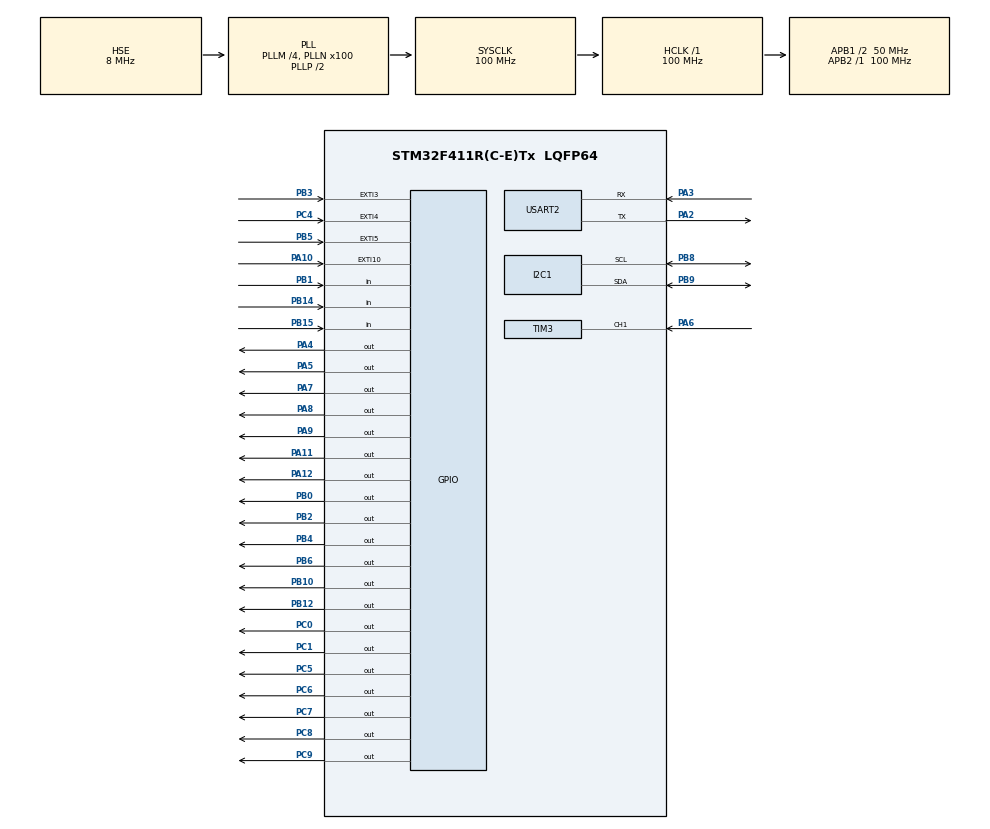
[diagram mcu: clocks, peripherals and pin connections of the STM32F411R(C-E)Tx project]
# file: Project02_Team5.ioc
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Mcu.Family=STM32F4
Mcu.Name=STM32F411R(C-E)Tx
Mcu.Package=LQFP64
NVIC.EXTI15_10_IRQn=true\:0\:0\:false\:false\:true\:true\:true\:true
NVIC.EXTI3_IRQn=true\:0\:0\:false\:false\:true\:true\:true\:true
NVIC.EXTI4_IRQn=true\:0\:0\:false\:false\:true\:true\:true\:true
NVIC.EXTI9_5_IRQn=true\:0\:0\:false\:false\:true\:true\:true\:true
NVIC.PriorityGroup=NVIC_PRIORITYGROUP_4
PA10.GPIO_ModeDefaultEXTI=GPIO_MODE_IT_FALLING
PA10.Signal=GPXTI10
PA11.Signal=GPIO_Output
PA12.Signal=GPIO_Output
PA13.Mode=Serial_Wire
PA13.Signal=SYS_JTMS-SWDIO
PA14.Mode=Serial_Wire
PA14.Signal=SYS_JTCK-SWCLK
PA2.Mode=Asynchronous
PA2.Signal=USART2_TX
PA3.Mode=Asynchronous
PA3.Signal=USART2_RX
PA4.Signal=GPIO_Output
PA5.Signal=GPIO_Output
PA6.Signal=S_TIM3_CH1
PA7.Signal=GPIO_Output
PA8.Signal=GPIO_Output
PA9.Signal=GPIO_Output
PB0.Signal=GPIO_Output
PB1.Signal=GPIO_Input
PB10.Signal=GPIO_Output
PB12.Signal=GPIO_Output
PB14.Signal=GPIO_Input
PB15.Signal=GPIO_Input
PB2.Signal=GPIO_Output
PB3.GPIO_ModeDefaultEXTI=GPIO_MODE_IT_FALLING
PB3.Signal=GPXTI3
PB4.Signal=GPIO_Output
PB5.GPIO_ModeDefaultEXTI=GPIO_MODE_IT_FALLING
PB5.Signal=GPXTI5
PB6.Signal=GPIO_Output
PB8.Mode=I2C
PB8.Signal=I2C1_SCL
PB9.Mode=I2C
PB9.Signal=I2C1_SDA
PC0.Signal=GPIO_Output
PC1.Signal=GPIO_Output
PC4.GPIO_ModeDefaultEXTI=GPIO_MODE_IT_FALLING
PC4.GPIO_PuPd=GPIO_PULLUP
PC4.Signal=GPXTI4
PC5.Signal=GPIO_Output
PC6.Signal=GPIO_Output
PC7.Signal=GPIO_Output
PC8.Signal=GPIO_Output
PC9.Signal=GPIO_Output
PH0\ -\ OSC_IN.Mode=HSE-External-Clock-Source
PH0\ -\ OSC_IN.Signal=RCC_OSC_IN
PH1\ -\ OSC_OUT.Mode=HSE-External-Clock-Source
PH1\ -\ OSC_OUT.Signal=RCC_OSC_OUT
ProjectManager.HeapSize=0x200
ProjectManager.StackSize=0x400
ProjectManager.TargetToolchain=STM32CubeIDE
RCC.48MHZClocksFreq_Value=50000000
RCC.AHBFreq_Value=100000000
RCC.APB1CLKDivider=RCC_HCLK_DIV2
RCC.APB1Freq_Value=50000000
RCC.APB1TimFreq_Value=100000000
RCC.APB2Freq_Value=100000000
RCC.APB2TimFreq_Value=100000000
RCC.CortexFreq_Value=100000000
RCC.HCLKFreq_Value=100000000
RCC.HSE_VALUE=8000000
RCC.HSI_VALUE=16000000
RCC.LSE_VALUE=32768
RCC.PLLM=4
RCC.PLLN=100
RCC.PLLSourceVirtual=RCC_PLLSOURCE_HSE
RCC.SYSCLKFreq_VALUE=100000000
RCC.SYSCLKSource=RCC_SYSCLKSOURCE_PLLCLK
RCC.VCOOutputFreq_Value=200000000
SH.S_TIM3_CH1.0=TIM3_CH1,Input_Capture1_from_TI1
TIM11.Prescaler=100-1
TIM3.Channel-Input_Capture1_from_TI1=TIM_CHANNEL_1
USART2.VirtualMode=VM_ASYNC
VP_TIM10_VS_ClockSourceINT.Mode=Enable_Timer
VP_TIM11_VS_ClockSourceINT.Mode=Enable_Timer
VP_TIM3_VS_ClockSourceINT.Mode=Internal
board=custom

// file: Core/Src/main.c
/* USER CODE BEGIN Header */
/**
  ******************************************************************************
  * @file           : main.c
  * @brief          : Main program body
  ******************************************************************************
  * @attention
  *
  * Copyright (c) 2026 STMicroelectronics.
  * All rights reserved.
  *
  * This software is licensed under terms that can be found in the LICENSE file
  * in the root directory of this software component.
  * If no LICENSE file comes with this software, it is provided AS-IS.
  *
  ******************************************************************************
  */
/* USER CODE END Header */
#include "main.h"
#include "i2c.h"
#include "tim.h"
#include "usart.h"
#include "gpio.h"

/* USER CODE BEGIN Includes */
#include "elevator.h"

#include <stdio.h>
#include <string.h>

#include "photo.h"
#include "I2C_LCD.h"
#include "dht11.h"

/* USER CODE END Includes */

/* USER CODE BEGIN PD */

#define PHOTO_PIN   GPIO_PIN_4   // PC4 : EXTI
#define PHOTO_PORT  GPIOC

/* DHT11 핀 */
#define DHT11_PIN   GPIO_PIN_4
#define DHT11_PORT  GPIOB

/* USER CODE END PD */

/* USER CODE BEGIN PV */

Photo photo;

const PhotoConfig photoCfg =
{
    .photoPort = PHOTO_PORT,
    .photoPin  = PHOTO_PIN,

    .dhtPort   = DHT11_PORT,
    .dhtPin    = DHT11_PIN,

    .activeLevel       = PHOTO_ACTIVE_LOW,
    .pollPeriodMs      = 2,
    .lcdUpdatePeriodMs = 2000
};

/* USER CODE END PV */

void SystemClock_Config(void);

int main(void)
{

  /* MCU Configuration--------------------------------------------------------*/

  /* Reset of all peripherals, Initializes the Flash interface and the Systick. */
  HAL_Init();

  /* Configure the system clock */
  SystemClock_Config();

  /* Initialize all configured peripherals */
  MX_GPIO_Init();
  MX_USART2_UART_Init();
  MX_I2C1_Init();
  MX_TIM3_Init();
  MX_TIM11_Init();
  MX_TIM10_Init();

  /* USER CODE BEGIN 2 */
  // 엘리베이터 및 주변장치 초기화
  Elevator_Init();

  photoInit(&photo, &photoCfg);

  /* USER CODE END 2 */

  /* Infinite loop */
  /* USER CODE BEGIN WHILE */
  while (1)
  {
    // 논블로킹 방식으로 엘리베이터 로직과 센서 로직을 계속 교차 실행
    Elevator_Loop();
		photoLoop(&photo);
    /* USER CODE END WHILE */

  }
}

void SystemClock_Config(void)
{
  RCC_OscInitTypeDef RCC_OscInitStruct = {0};
  RCC_ClkInitTypeDef RCC_ClkInitStruct = {0};

  /** Configure the main internal regulator output voltage
  */
  __HAL_RCC_PWR_CLK_ENABLE();
  __HAL_PWR_VOLTAGESCALING_CONFIG(PWR_REGULATOR_VOLTAGE_SCALE1);

  /** Initializes the RCC Oscillators according to the specified parameters
  * in the RCC_OscInitTypeDef structure.
  */
  RCC_OscInitStruct.OscillatorType = RCC_OSCILLATORTYPE_HSE;
  RCC_OscInitStruct.HSEState = RCC_HSE_BYPASS;
  RCC_OscInitStruct.PLL.PLLState = RCC_PLL_ON;
  RCC_OscInitStruct.PLL.PLLSource = RCC_PLLSOURCE_HSE;
  RCC_OscInitStruct.PLL.PLLM = 4;
  RCC_OscInitStruct.PLL.PLLN = 100;
  RCC_OscInitStruct.PLL.PLLP = RCC_PLLP_DIV2;
  RCC_OscInitStruct.PLL.PLLQ = 4;
  if (HAL_RCC_OscConfig(&RCC_OscInitStruct) != HAL_OK)
  {
    Error_Handler();
  }

  /** Initializes the CPU, AHB and APB buses clocks
  */
  RCC_ClkInitStruct.ClockType = RCC_CLOCKTYPE_HCLK|RCC_CLOCKTYPE_SYSCLK
                              |RCC_CLOCKTYPE_PCLK1|RCC_CLOCKTYPE_PCLK2;
  RCC_ClkInitStruct.SYSCLKSource = RCC_SYSCLKSOURCE_PLLCLK;
  RCC_ClkInitStruct.AHBCLKDivider = RCC_SYSCLK_DIV1;
  RCC_ClkInitStruct.APB1CLKDivider = RCC_HCLK_DIV2;
  RCC_ClkInitStruct.APB2CLKDivider = RCC_HCLK_DIV1;

  if (HAL_RCC_ClockConfig(&RCC_ClkInitStruct, FLASH_LATENCY_3) != HAL_OK)
  {
    Error_Handler();
  }
}

/* USER CODE BEGIN 4 */
/**
  * @brief  인터럽트 발생 시 실행되는 콜백 함수
  * @param  GPIO_Pin: 인터럽트가 발생한 핀 번호
  */
void HAL_GPIO_EXTI_Callback(uint16_t GPIO_Pin)
{
  Elevator_SensorCallback(GPIO_Pin);
}
/* USER CODE END 4 */

void Error_Handler(void)
{
  __disable_irq();
  while (1)
  {
  }
}
